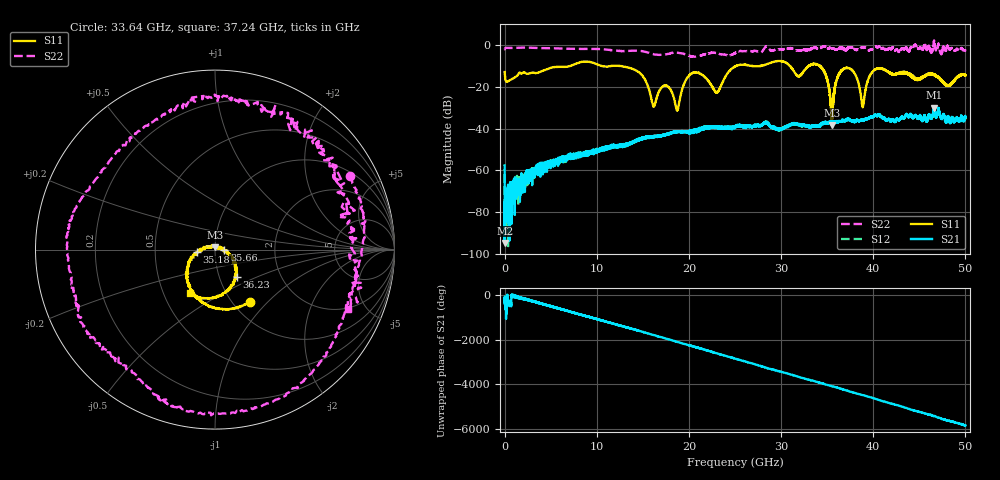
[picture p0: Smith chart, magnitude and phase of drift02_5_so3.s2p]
!Created with skrf (http://scikit-rf.org).
# Hz S RI R 50.0
!freq ReS11 ImS11 ReS21 ImS21 ReS12 ImS12 ReS22 ImS22
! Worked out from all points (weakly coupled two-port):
!   10001 points, 300 kHz to 50 GHz, reference 50 ohm
!   highest |S21| = -29.95 dB at 46.59 GHz (marker M1); lowest = -94.7 dB at 35.3 MHz (marker M2)
!   lowest |S11| = -38.5 dB at 35.51 GHz (marker M3), VSWR 1.02, Z = 50.1 + j1.18 ohm
!   |S11| at or under -10 dB: start of sweep to 7.176 GHz; 12.29 GHz to 25.17 GHz (12.89 GHz wide, 68.8 % of centre); 34.19 GHz to end of sweep (the widest 3 of 14)
!   |S22| runs from -5.7 to 2.1 dB; largest |S21 - S12| = 0.0036
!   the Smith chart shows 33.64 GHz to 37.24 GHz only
!   S11 on the Smith chart (normalised r, x): 33.64 GHz: 1.19, -0.79; 35.18 GHz: 0.82, -0.02; 35.66 GHz: 1.11, -0.01; 36.23 GHz: 1.21, -0.38; 37.24 GHz: 0.68, -0.36
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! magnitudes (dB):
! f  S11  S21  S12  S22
! 300 kHz  -13.0  -57.7  -61.7  -2.1
! 35.3 MHz  -14.5  -94.7  -75.3  -1.7
! 265.3 MHz  -17.6  -75.5  -72.9  -1.4
! 8.335 GHz  -8.2  -52.7  -52.7  -1.9
! 14.02 GHz  -11.7  -46.3  -46.2  -2.8
! 16.67 GHz  -23.2  -43.8  -43.7  -4.8
! 18.73 GHz  -31.3  -41.5  -41.7  -3.8
! 20.24 GHz  -13.8  -41.3  -41.3  -5.4
! 23.03 GHz  -22.7  -39.3  -39.4  -4.1
! 25 GHz  -10.4  -39.6  -39.2  -3.9
! 33.34 GHz  -9.4  -38.8  -38.4  -1.5
! 33.64 GHz  -9.1  -38.9  -38.7  -1.4
! 35.18 GHz  -19.8  -37.0  -37.2  -1.6
! 35.51 GHz  -38.5  -37.0  -36.8  -1.8
! 35.66 GHz  -25.6  -36.9  -36.9  -1.7
! 36.23 GHz  -14.3  -36.7  -36.5  -1.9
! 37.24 GHz  -11.0  -36.0  -35.7  -1.8
! 38.86 GHz  -29.8  -36.2  -36.1  -1.3
! 39.96 GHz  -12.7  -34.5  -34.4  -1.9
! 41.67 GHz  -13.0  -35.7  -35.5  -1.9
! 46.59 GHz  -14.2  -30.0  -30.3  1.9
! 50 GHz  -14.6  -34.8  -34.7  -2.6
